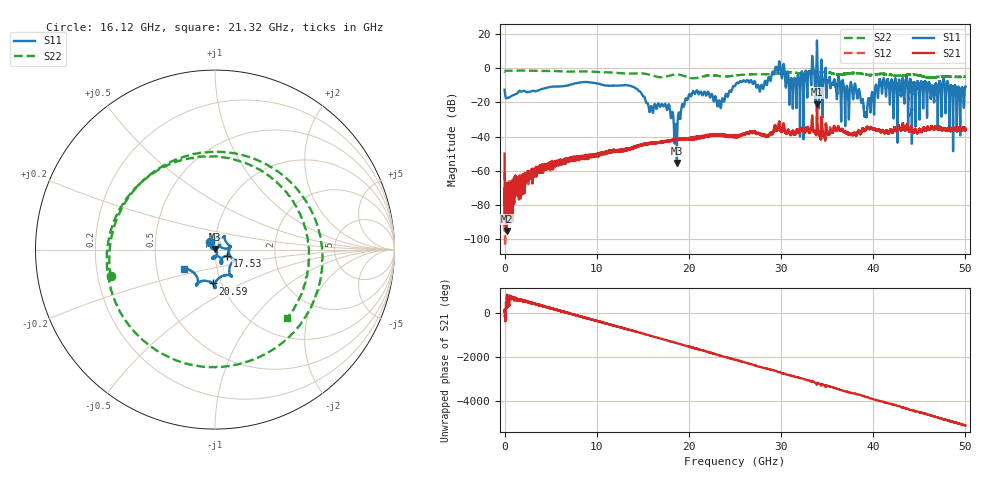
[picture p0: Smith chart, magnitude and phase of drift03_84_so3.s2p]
!Created with skrf (http://scikit-rf.org).
# Hz S RI R 50.0
!freq ReS11 ImS11 ReS21 ImS21 ReS12 ImS12 ReS22 ImS22
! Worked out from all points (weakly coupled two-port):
!   10001 points, 300 kHz to 50 GHz, reference 50 ohm
!   highest |S21| = -20.99 dB at 33.9 GHz (marker M1); lowest = -95.2 dB at 210.3 MHz (marker M2)
!   lowest |S11| = -55.4 dB at 18.7 GHz (marker M3), VSWR 1.00, Z = 50 + j0.17 ohm
!   |S11| at or under -10 dB: start of sweep to 6.943 GHz; 13.32 GHz to 25.05 GHz (11.73 GHz wide, 61.1 % of centre); 38.07 GHz to 40.25 GHz (2.181 GHz wide, 5.57 % of centre) (the widest 3 of 54)
!   |S22| runs from -5.9 to -1.3 dB; largest |S21 - S12| = 0.0079
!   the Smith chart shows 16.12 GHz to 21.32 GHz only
!   S11 on the Smith chart (normalised r, x): 16.12 GHz: 0.94, +0.08; 17.53 GHz: 1.14, -0.08; 20.59 GHz: 0.91, -0.36; 21.32 GHz: 0.69, -0.16
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300000  -0.2115 -0.1019  -0.0013 0.00291  -0.000795 0.00047  -0.77 -0.1941
2.102987e8  -0.1132 0.0671  -2.21e-06 -1.72e-05  -2.41e-05 5.39e-05  -0.7741 0.3431
1.535291e9  0.2047 0.0434  -4.97e-05 -0.000302  -0.000249 -0.000296  0.8488 0.0783
3.160281e9  -0.2183 -0.00876  0.000267 0.000907  9.45e-05 0.000789  -0.8446 -0.0256
4.665272e9  0.2634 0.0612  -0.000117 -0.0015  -0.000178 -0.00131  0.8183 0.1439
6.360262e9  -0.3 0.000155  0.00037 0.00177  0.00046 0.00179  -0.8042 -0.0456
8.33525e9  0.2839 -0.267  -0.00216 -0.000885  -0.00237 -0.00108  0.6043 -0.5347
9.575243e9  -0.3716 -0.0485  0.00157 0.00258  0.0014 0.00247  -0.7853 -0.0993
1.124523e10  0.3057 0.0239  -0.00226 -0.00279  -0.00241 -0.00261  0.7582 0.0222
1.61202e10  -0.0302 0.0423  0.00609 0.0023  0.0064 0.00219  -0.5818 -0.1496
1.66702e10  0.0534 0.0755  0.00462 -0.00466  0.00447 -0.0048  -0.3649 0.415
1.753019e10  0.0665 -0.0353  -0.0061 -0.00404  -0.00614 -0.00396  0.4924 0.2897
1.869519e10  2.17e-05 0.0017  0.0025 0.00805  0.00264 0.00787  -0.0872 -0.6498
2.059018e10  -0.0106 -0.1885  -0.00821 -0.00408  -0.00813 -0.00427  0.382 0.3362
2.131517e10  -0.1717 -0.1091  -0.00508 0.00806  -0.00522 0.008  0.4025 -0.379
2.500015e10  -0.2969 -0.049  0.00771 0.00642  0.00761 0.00637  -0.1792 -0.5832
3.052012e10  0.2302 -0.1444  -0.00205 0.0128  -0.00197 0.0126  0.7456 -0.0658
3.214011e10  0.2005 0.4275  -0.000451 -0.0154  -0.000705 -0.0151  -0.6974 0.0138
3.33351e10  0.4509 -1.022  -0.00378 0.0257  -0.00473 0.0245  0.6107 0.3707
3.38951e10  -0.7488 -6.449  0.0884 0.0123  0.0831 0.00719  0.684 -0.3183
4.167005e10  -0.2276 0.2808  -0.0115 -0.00471  -0.0116 -0.00504  -0.6539 -0.0611
5e10  -0.1456 -0.257  0.00238 -0.0169  0.00165 -0.0166  0.4747 -0.3087
